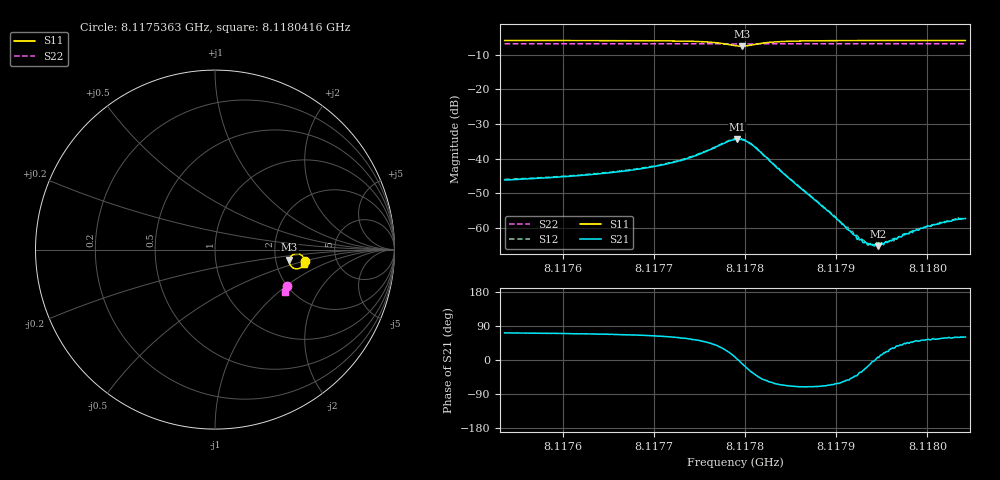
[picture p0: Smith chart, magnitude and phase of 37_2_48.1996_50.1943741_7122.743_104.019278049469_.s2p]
#  HZ  S  RI  R  50.00
! Rohde & Schwarz Vector Network Analyzer
! Rohde-Schwarz,ZNB20-2Port,1311601062101988,3.16
! Created: UTC 3/20/2024, 11:37:42 AM
! freq[Hz]  re:S11  im:S11  re:S21  im:S21  re:S12  im:S12  re:S22  im:S22
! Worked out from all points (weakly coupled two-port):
!   401 points, 8.1175363 GHz to 8.1180416 GHz, reference 50 ohm
!   highest |S21| = -34.40 dB at 8.1177915 GHz (marker M1); lowest = -65.3 dB at 8.1179456 GHz (marker M2)
!   lowest |S11| = -7.6 dB at 8.1177965 GHz (marker M3), VSWR 2.43, Z = 119 - j16.4 ohm
!   |S11| at or under -10 dB: nowhere
!   |S22| runs from -7.0 to -6.9 dB; largest |S21 - S12| = 0.00063
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8.11753632e9  0.5011 -0.0614  0.00155 0.00467  0.00165 0.00474  0.4034 -0.2043
8.11762095e9  0.4988 -0.0713  0.00203 0.00534  0.00216 0.0054  0.4009 -0.21
8.11767148e9  0.4961 -0.0792  0.00271 0.00611  0.00278 0.00621  0.3992 -0.2132
8.11770558e9  0.492 -0.0869  0.00357 0.00705  0.00372 0.00712  0.3978 -0.2155
8.11774221e9  0.4809 -0.0987  0.00625 0.00848  0.00637 0.00869  0.3964 -0.2181
8.11777252e9  0.4487 -0.1067  0.013 0.00885  0.0133 0.00886  0.3939 -0.2198
8.11778894e9  0.4168 -0.0822  0.0186 0.0026  0.0191 0.00225  0.3925 -0.2194
8.11779147e9  0.4141 -0.0745  0.019 0.000746  0.0193 0.000384  0.3922 -0.2192
8.11779652e9  0.4137 -0.0568  0.0185 -0.00306  0.0188 -0.00329  0.3923 -0.2185
8.11780284e9  0.423 -0.0373  0.0158 -0.00688  0.016 -0.00717  0.3927 -0.2182
8.11781042e9  0.4417 -0.0245  0.0117 -0.00904  0.0116 -0.0093  0.3934 -0.2184
8.11783442e9  0.4818 -0.0316  0.00332 -0.00666  0.00343 -0.00688  0.3943 -0.2207
8.11787357e9  0.4963 -0.0519  0.000914 -0.00255  0.000916 -0.0026  0.3935 -0.224
8.11792283e9  0.4988 -0.0652  0.000511 -0.000444  0.000595 -0.000506  0.392 -0.2275
8.1179342e9  0.4989 -0.0673  0.000541 -0.000171  0.000577 -0.000179  0.3915 -0.2282
8.11794557e9  0.4989 -0.0692  0.000538 7.46e-05  0.000585 5.46e-05  0.3912 -0.2291
8.11795062e9  0.499 -0.07  0.000576 0.000154  0.00058 0.000149  0.3911 -0.2294
8.1179582e9  0.499 -0.0712  0.000576 0.000297  0.000563 0.000313  0.3907 -0.2299
8.11797967e9  0.4989 -0.0742  0.00059 0.000569  0.000612 0.000595  0.3898 -0.2313
8.11799862e9  0.4987 -0.0767  0.000614 0.000837  0.000631 0.000822  0.3894 -0.2323
8.11802767e9  0.4984 -0.0802  0.000667 0.0011  0.000679 0.00111  0.3884 -0.2343
8.11804156e9  0.4981 -0.0817  0.000667 0.00119  0.000665 0.0012  0.3879 -0.2353
